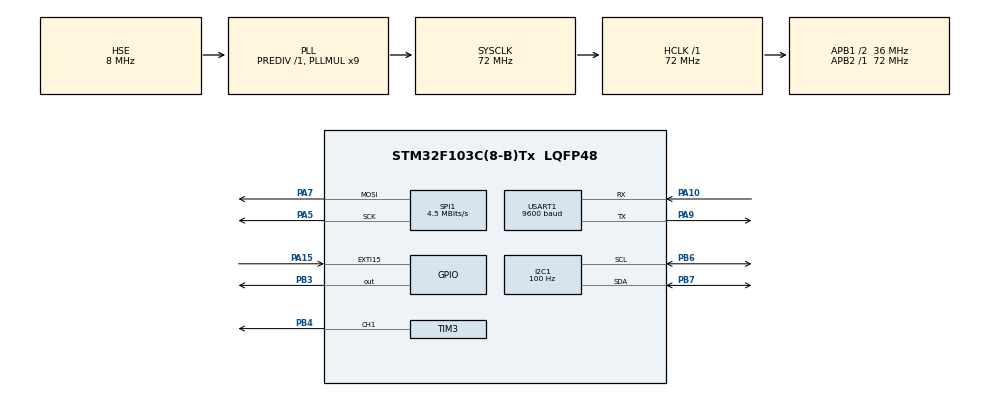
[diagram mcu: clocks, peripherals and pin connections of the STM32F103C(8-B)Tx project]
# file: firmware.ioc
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Mcu.Family=STM32F1
RCC.PLLSourceVirtual=RCC_PLLSOURCE_HSE
TIM3.CounterMode=TIM_COUNTERMODE_DOWN
PA7.Mode=TX_Only_Simplex_Unidirect_Master
PD1-OSC_OUT.Mode=HSE-External-Oscillator
PA10.Mode=Asynchronous
SPI1.VirtualType=VM_MASTER
USART1.BaudRate=9600
USART1.WordLength=WORDLENGTH_8B
NVIC.TIM1_UP_IRQn=true\:0\:0\:false\:false\:true\:true\:true
SPI1.CLKPhase=SPI_PHASE_2EDGE
PD0-OSC_IN.Signal=RCC_OSC_IN
RCC.APB1CLKDivider=RCC_HCLK_DIV2
RCC.SYSCLKSource=RCC_SYSCLKSOURCE_PLLCLK
ProjectManager.StackSize=0x400
PD1-OSC_OUT.Signal=RCC_OSC_OUT
PA13.Signal=SYS_JTMS-SWDIO
PA9.Mode=Asynchronous
TIM1.Prescaler=7200 - 1
I2C1.ClockSpeed=100
ProjectManager.TargetToolchain=EWARM V8.32
PB3.PinState=GPIO_PIN_SET
PA15.GPIO_ModeDefaultEXTI=GPIO_MODE_IT_FALLING
SPI1.Direction=SPI_DIRECTION_2LINES
RCC.HCLKFreq_Value=72000000
RCC.APB2TimFreq_Value=72000000
TIM3.Period=0
PA9.Signal=USART1_TX
PB6.Signal=I2C1_SCL
PB6.Mode=I2C
SPI1.CalculateBaudRate=4.5 MBits/s
RCC.USBFreq_Value=72000000
TIM4.Prescaler=7200 - 1
RCC.AHBFreq_Value=72000000
TIM3.Channel-PWM\ Generation1\ CH1=TIM_CHANNEL_1
PD0-OSC_IN.Mode=HSE-External-Oscillator
NVIC.EXTI15_10_IRQn=true\:3\:0\:true\:false\:true\:true\:true
PA5.Signal=SPI1_SCK
board=custom
RCC.PLLMUL=RCC_PLL_MUL9
RCC.APB2Freq_Value=72000000
PB3.GPIO_PuPd=GPIO_PULLUP
VP_TIM2_VS_ClockSourceINT.Mode=Internal
SPI1.Mode=SPI_MODE_MASTER
PA14.Mode=Serial_Wire
TIM3.Prescaler=7200 - 1
NVIC.TIM2_IRQn=true\:1\:0\:true\:false\:true\:true\:true
PB7.Signal=I2C1_SDA
SH.S_TIM3_CH1.0=TIM3_CH1,PWM Generation1 CH1
TIM2.Period=60000 - 1
TIM4.Period=1000 - 1
PA13.Mode=Serial_Wire
Mcu.Name=STM32F103C(8-B)Tx
VP_TIM1_VS_ClockSourceINT.Mode=Internal
PB3.Signal=GPIO_Output
RCC.SYSCLKFreq_VALUE=72000000
Mcu.Package=LQFP48
TIM2.Prescaler=7200 - 1
USART1.VirtualMode=VM_ASYNC
PB7.Mode=I2C
PA10.Signal=USART1_RX
PA14.Signal=SYS_JTCK-SWCLK
PA15.Signal=GPXTI15
ProjectManager.HeapSize=0x200
VP_TIM4_VS_ClockSourceINT.Mode=Internal
NVIC.PriorityGroup=NVIC_PRIORITYGROUP_2
PA15.GPIO_PuPd=GPIO_PULLUP
RCC.APB1TimFreq_Value=72000000
TIM1.Period=50 - 1
NVIC.USART1_IRQn=true\:0\:0\:false\:false\:true\:true\:true
NVIC.TIM4_IRQn=true\:0\:0\:false\:false\:true\:true\:true
RCC.APB1Freq_Value=36000000
SPI1.BaudRatePrescaler=SPI_BAUDRATEPRESCALER_16
VP_TIM3_VS_ClockSourceINT.Mode=Internal
PB4.Signal=S_TIM3_CH1
PB3.GPIO_ModeDefaultOutputPP=GPIO_MODE_OUTPUT_OD
PA5.Mode=TX_Only_Simplex_Unidirect_Master
PA7.Signal=SPI1_MOSI

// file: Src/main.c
/* USER CODE BEGIN Header */
/**
  ******************************************************************************
  * @file           : main.c
  * @brief          : Main program body
  ******************************************************************************
  * @attention
  *
  * <h2><center>&copy; Copyright (c) 2021 STMicroelectronics.
  * All rights reserved.</center></h2>
  *
  * This software component is licensed by ST under BSD 3-Clause license,
  * the "License"; You may not use this file except in compliance with the
  * License. You may obtain a copy of the License at:
  *                        opensource.org/licenses/BSD-3-Clause
  *
  ******************************************************************************
  */
/* USER CODE END Header */

#include "main.h"

/* USER CODE BEGIN Includes */
#include <stdio.h>
#include "wifi.h"
/* USER CODE END Includes */

/* USER CODE BEGIN PD */
#define LED_0 0xC0
#define LED_1 0xFC

#define	SHT30_ADDR_WRITE	0x44<<1         //10001000
#define	SHT30_ADDR_READ	    (0x44<<1)+1	    //10001011

#define temp_sampling_flash     0x08007000
#define humidity_sampling_flash 0x08007004
#define light_switch_flash      0x08007008
#define system_switch_flash     0x0800700C
#define maxtemp_set_flash       0x08007010
#define minitemp_set_flash      0x08007014
#define maxhum_set_flash        0x08007018
#define minihum_set_flash       0x0800702C
#define bright_value_flash      0x08007030
/* USER CODE END PD */

I2C_HandleTypeDef hi2c1;

SPI_HandleTypeDef hspi1;

TIM_HandleTypeDef htim1;
TIM_HandleTypeDef htim2;
TIM_HandleTypeDef htim3;
TIM_HandleTypeDef htim4;

UART_HandleTypeDef huart1;

/* USER CODE BEGIN PV */
uint8_t light_switch, system_switch, temp_alarm, hum_alarm, bright_value, reset_flag, sht30_ready;

uint16_t humidity_value, temp_sampling, humidity_sampling, maxhum_set, minihum_set;

int16_t temp_current, maxtemp_set, minitemp_set;

uint8_t u1RX, sampling_flag, random_flag;

uint16_t sampling_cnt;
/* USER CODE END PV */

void SystemClock_Config(void);
static void MX_GPIO_Init(void);
static void MX_SPI1_Init(void);
static void MX_USART1_UART_Init(void);
static void MX_I2C1_Init(void);
static void MX_TIM2_Init(void);
static void MX_TIM3_Init(void);
static void MX_TIM4_Init(void);
static void MX_TIM1_Init(void);

/* USER CODE BEGIN 0 */
//设置采样指示灯闪烁频率
void sampling_led_set() {
  uint16_t reload = (temp_sampling + humidity_sampling) * 500 - 1;
  __HAL_TIM_SET_AUTORELOAD(&htim3, reload);
  __HAL_TIM_SET_COMPARE(&htim3, TIM_CHANNEL_1, reload / 2);
}

//开关机
void system_check(uint8_t system) {
      if (system != system_switch) {
        if (system)
          HAL_TIM_PWM_Start(&htim3, TIM_CHANNEL_1);
        else
          HAL_TIM_PWM_Stop(&htim3, TIM_CHANNEL_1);
      }

    system_switch = system;
    sampling_led_set();
    while (system && light_switch > 9)
        light_switch -= 20;

    while (!system && light_switch <= 9)
        light_switch += 20;

    light_set(light_switch);
}

/* SHT30采样 begin ----------------------------------------------------------*/
static uint8_t SHT30_Send_Cmd(uint16_t cmd) {
    uint8_t cmd_buffer[2];
    cmd_buffer[0] = cmd >> 8;
    cmd_buffer[1] = cmd;
    return HAL_I2C_Master_Transmit(&hi2c1, SHT30_ADDR_WRITE, cmd_buffer, 2, 0xFF);
}

void SHT30_Reset(void) {
    SHT30_Send_Cmd(0x30A2);
    HAL_Delay(20);
}

uint8_t SHT30_Read_Dat(uint8_t* dat) {
	SHT30_Send_Cmd(0xE000);
	return HAL_I2C_Master_Receive(&hi2c1, SHT30_ADDR_READ, dat, 6, 0xFFF);
}

void SHT30_Dat_To_Float(float* temperature, float* humidity) {
    uint8_t dat[6] = {0};
	uint16_t recv_temperature = 0;
	uint16_t recv_humidity = 0;

    SHT30_Read_Dat(dat);

	/* 转换温度数据 */
	recv_temperature = ((uint16_t)dat[0]<<8)|dat[1];
	*temperature = -45 + 175*((float)recv_temperature/65535);

	/* 转换湿度数据 */
	recv_humidity = ((uint16_t)dat[3]<<8)|dat[4];
	*humidity = 100 * ((float)recv_humidity / 65535);
}

uint8_t SHT30_Init(void) {
    return SHT30_Send_Cmd(0x2220);
}
/* SHT30采样 end ------------------------------------------------------------*/

//WS2812 数据
void LED_Transmit(uint8_t *color, uint8_t size) {
    uint8_t pos = 0, R, G, B, color_pos;
    uint8_t data[24 * 8];

    for (; pos < size; pos++) {
        R = color[3 * pos];
        G = color[3 * pos + 1];
        B = color[3 * pos + 2];

        for (color_pos = 0; color_pos < 8; color_pos++) {
          data[24 * pos + color_pos] = ((G & (1 << 7)) ? (LED_1) : (LED_0));
          G = G << 1;
        }

        for (color_pos = 0; color_pos < 8; color_pos++) {
          data[24 * pos + 8 + color_pos] = ((R & (1 << 7)) ? (LED_1) : (LED_0));
          R = R << 1;
        }

        for (color_pos = 0; color_pos < 8; color_pos++) {
          data[24 * pos + 16 + color_pos] = ((B & (1 << 7)) ? (LED_1) : (LED_0));
          B = B << 1;
        }
    }

    HAL_SPI_Transmit(&hspi1, data, 24 * size, 1000);
    HAL_Delay(1);
}

void color_set(uint8_t R, uint8_t G, uint8_t B) {
  uint8_t color[24], tmp;
    for (tmp = 1; tmp <= 8; tmp++) {
        color[(tmp - 1) * 3] = R;
        color[(tmp - 1) * 3 + 1] = G;
        color[(tmp - 1) * 3 + 2] = B;
    }

    LED_Transmit(color, 8);

}

// 设置光强
void light_set(uint8_t light) {
  light_switch = light;

  uint8_t R = 0, G = 0, B = 0;

  switch(light) {
        case 0:
        break;

        case 1:
          R = G = B = bright_value;
        break;

        case 2:
          R = bright_value;
        break;

        case 3:
          G = bright_value;
        break;

        case 4:
          B = bright_value;
        break;

        case 5:
          G = B = bright_value;
        break;

        case 6:
          R = B = bright_value;
        break;

        case 7:
          R = G = bright_value;
        break;

        case 8:
          B = bright_value;
          R = bright_value * humidity_value / 100;
          G = bright_value - R;
        break;

        case 9:
          return;
        break;
    }

    color_set(R, G, B);
}

//WS2812  数据处理
void bright_set(uint8_t bright) {
  bright_value = bright;
  light_set(light_switch);
}

//检查是否触发警报
void alerm_checker() {
  if (temp_current < minitemp_set)
    temp_alarm = 0;
  else if (temp_current > maxtemp_set)
    temp_alarm = 1;
  else
    temp_alarm = 2;

  if (humidity_value < minihum_set)
    hum_alarm = 0;
  else if (humidity_value > maxhum_set)
    hum_alarm = 1;
  else
    hum_alarm = 2;

  mcu_dp_enum_update(DPID_TEMP_ALARM,temp_alarm); //枚举型数据上报;
  mcu_dp_enum_update(DPID_HUM_ALARM,hum_alarm); //枚举型数据上报;
}

//设置并上传温度值
void temp_set(int16_t temp) {
  temp_current = temp;

  mcu_dp_value_update(DPID_TEMP_CURRENT,temp_current); //VALUE型数据上报;

  alerm_checker();
}

//设置并上传湿度值
void hum_set(uint16_t hum) {
  light_set(light_switch);

  humidity_value = hum;

  mcu_dp_value_update(DPID_HUMIDITY_VALUE,humidity_value); //VALUE型数据上报;

  alerm_checker();
}

// 上电初始化数据
void Data_Init() {
  temp_alarm = hum_alarm = 2;
  light_switch = (uint8_t)readFlash(light_switch_flash);
  system_switch = (uint8_t)readFlash(system_switch_flash);
  temp_sampling = (uint16_t)readFlash(temp_sampling_flash);
  humidity_sampling = (uint16_t)readFlash(humidity_sampling_flash);
  maxtemp_set = (int16_t)readFlash(maxtemp_set_flash);
  minitemp_set = (int16_t)readFlash(minitemp_set_flash);
  maxhum_set = (uint16_t)readFlash(maxhum_set_flash);
  minihum_set = (uint16_t)readFlash(minihum_set_flash);
  bright_value = (uint8_t)readFlash(bright_value_flash);
  sampling_led_set();

  bright_set(bright_value);//第一次发送信号不稳
  bright_set(bright_value);

  system_check(system_switch);
}

//读取Flash
uint32_t readFlash(uint32_t addr){
  return *(__IO uint32_t*)(addr);
}

//写Flash
void updateFlash(){
  //Unlock
  HAL_FLASH_Unlock();

  //Erase
  FLASH_EraseInitTypeDef f;
  f.TypeErase = FLASH_TYPEERASE_PAGES;
  f.PageAddress = 0x08007000;
  f.NbPages = 1;
  uint32_t PageError = 0;
  HAL_FLASHEx_Erase(&f, &PageError);

  //Write
  HAL_FLASH_Program(TYPEPROGRAM_WORD, temp_sampling_flash, temp_sampling);
  HAL_FLASH_Program(TYPEPROGRAM_WORD, humidity_sampling_flash, humidity_sampling);
  HAL_FLASH_Program(TYPEPROGRAM_WORD, light_switch_flash, light_switch);
  HAL_FLASH_Program(TYPEPROGRAM_WORD, system_switch_flash, system_switch);
  HAL_FLASH_Program(TYPEPROGRAM_WORD, maxtemp_set_flash, maxtemp_set);
  HAL_FLASH_Program(TYPEPROGRAM_WORD, minitemp_set_flash, minitemp_set);
  HAL_FLASH_Program(TYPEPROGRAM_WORD, maxhum_set_flash, maxhum_set);
  HAL_FLASH_Program(TYPEPROGRAM_WORD, minihum_set_flash, minihum_set);
  HAL_FLASH_Program(TYPEPROGRAM_WORD, bright_value_flash, bright_value);

  //Lock
  HAL_FLASH_Lock();
}

void HAL_TIM_PeriodElapsedCallback(TIM_HandleTypeDef *htim) {
    if (htim == &htim2) {
      //非实时数据上传
        all_data_update();
    } else if (htim == &htim4 && sht30_ready) {
      //温湿度定时
      if (sampling_cnt-- == 0) {
        sampling_cnt = (temp_sampling / 2 + humidity_sampling / 2);
        sampling_flag = 1;
      }
    } else if (htim == &htim1) {
      random_flag++;
    }
}

//串口发送
void UART1_Transmit(unsigned char value) {
  HAL_UART_Transmit(&huart1, &value, 1, 0xffff);
}

//中断方式接收1字节数据
void HAL_UART_RxCpltCallback(UART_HandleTypeDef *huart) {
  uart_receive_input(u1RX);
  while(HAL_UART_Receive_IT(&huart1, &u1RX,1) != HAL_OK);
}

//重置wifi按钮
void HAL_GPIO_EXTI_Callback(uint16_t GPIO_Pin) {
  if (reset_flag)
    return;

  mcu_reset_wifi();
  mcu_set_wifi_mode(SMART_CONFIG);

  reset_flag = 1;
}
/* USER CODE END 0 */

int main(void)
{

  /* MCU Configuration--------------------------------------------------------*/

  /* Reset of all peripherals, Initializes the Flash interface and the Systick. */
  HAL_Init();

  /* Configure the system clock */
  SystemClock_Config();

  /* Initialize all configured peripherals */
  MX_GPIO_Init();
  MX_SPI1_Init();
  MX_USART1_UART_Init();
  MX_I2C1_Init();
  MX_TIM2_Init();
  MX_TIM3_Init();
  MX_TIM4_Init();
  MX_TIM1_Init();
  /* USER CODE BEGIN 2 */
  Data_Init();

  HAL_TIM_Base_Start_IT(&htim2);
  HAL_TIM_Base_Start_IT(&htim4);
  HAL_TIM_Base_Start_IT(&htim1);
  if (system_switch) HAL_TIM_PWM_Start(&htim3, TIM_CHANNEL_1);

  while(HAL_UART_Receive_IT(&huart1, &u1RX,1) != HAL_OK);
  wifi_protocol_init();

    SHT30_Reset();
    if(SHT30_Init() == HAL_OK) sht30_ready = 1;
  /* USER CODE END 2 */

  /* Infinite loop */
  /* USER CODE BEGIN WHILE */
    uint8_t R = 255, G = 0, B = 0, pos = 1;
    int8_t color_flag = 1;
  while (1) {
    wifi_uart_service();

    if (sampling_flag && system_switch) {
        float temperature, humidity;
        SHT30_Dat_To_Float(&temperature, &humidity);

        hum_set((int16_t)humidity);
        temp_set((int16_t)(temperature * 10));

        sampling_flag = 0;
    }

    if (random_flag >= 1 && light_switch == 9) {
      random_flag = 0;
      uint8_t over = 0;

      if (pos == 0) {
        R += color_flag;
        if ((color_flag == 1 && R == 255) || (color_flag == -1 && R == 0))
          over = 1;
      } else if (pos == 1) {
        G += color_flag;
          if ((color_flag == 1 && G == 255) || (color_flag == -1 && G == 0))
              over = 1;
      } else {
        B += color_flag;
        if ((color_flag == 1 && B == 255) || (color_flag == -1 && B == 0))
          over = 1;
      }

      if (over) {
        pos += 2;
        pos %= 3;
        color_flag *= -1;
      }

      color_set(R, G, B);
    }
    /* USER CODE END WHILE */

  }
}

void SystemClock_Config(void)
{
  RCC_OscInitTypeDef RCC_OscInitStruct = {0};
  RCC_ClkInitTypeDef RCC_ClkInitStruct = {0};

  /** Initializes the CPU, AHB and APB busses clocks
  */
  RCC_OscInitStruct.OscillatorType = RCC_OSCILLATORTYPE_HSE;
  RCC_OscInitStruct.HSEState = RCC_HSE_ON;
  RCC_OscInitStruct.HSEPredivValue = RCC_HSE_PREDIV_DIV1;
  RCC_OscInitStruct.HSIState = RCC_HSI_ON;
  RCC_OscInitStruct.PLL.PLLState = RCC_PLL_ON;
  RCC_OscInitStruct.PLL.PLLSource = RCC_PLLSOURCE_HSE;
  RCC_OscInitStruct.PLL.PLLMUL = RCC_PLL_MUL9;
  if (HAL_RCC_OscConfig(&RCC_OscInitStruct) != HAL_OK)
  {
    Error_Handler();
  }
  /** Initializes the CPU, AHB and APB busses clocks
  */
  RCC_ClkInitStruct.ClockType = RCC_CLOCKTYPE_HCLK|RCC_CLOCKTYPE_SYSCLK
                              |RCC_CLOCKTYPE_PCLK1|RCC_CLOCKTYPE_PCLK2;
  RCC_ClkInitStruct.SYSCLKSource = RCC_SYSCLKSOURCE_PLLCLK;
  RCC_ClkInitStruct.AHBCLKDivider = RCC_SYSCLK_DIV1;
  RCC_ClkInitStruct.APB1CLKDivider = RCC_HCLK_DIV2;
  RCC_ClkInitStruct.APB2CLKDivider = RCC_HCLK_DIV1;

  if (HAL_RCC_ClockConfig(&RCC_ClkInitStruct, FLASH_LATENCY_2) != HAL_OK)
  {
    Error_Handler();
  }
}

static void MX_I2C1_Init(void)
{

  hi2c1.Instance = I2C1;
  hi2c1.Init.ClockSpeed = 100;
  hi2c1.Init.DutyCycle = I2C_DUTYCYCLE_2;
  hi2c1.Init.OwnAddress1 = 0;
  hi2c1.Init.AddressingMode = I2C_ADDRESSINGMODE_7BIT;
  hi2c1.Init.DualAddressMode = I2C_DUALADDRESS_DISABLE;
  hi2c1.Init.OwnAddress2 = 0;
  hi2c1.Init.GeneralCallMode = I2C_GENERALCALL_DISABLE;
  hi2c1.Init.NoStretchMode = I2C_NOSTRETCH_DISABLE;
  if (HAL_I2C_Init(&hi2c1) != HAL_OK)
  {
    Error_Handler();
  }

}

static void MX_SPI1_Init(void)
{

  /* SPI1 parameter configuration*/
  hspi1.Instance = SPI1;
  hspi1.Init.Mode = SPI_MODE_MASTER;
  hspi1.Init.Direction = SPI_DIRECTION_2LINES;
  hspi1.Init.DataSize = SPI_DATASIZE_8BIT;
  hspi1.Init.CLKPolarity = SPI_POLARITY_LOW;
  hspi1.Init.CLKPhase = SPI_PHASE_2EDGE;
  hspi1.Init.NSS = SPI_NSS_SOFT;
  hspi1.Init.BaudRatePrescaler = SPI_BAUDRATEPRESCALER_16;
  hspi1.Init.FirstBit = SPI_FIRSTBIT_MSB;
  hspi1.Init.TIMode = SPI_TIMODE_DISABLE;
  hspi1.Init.CRCCalculation = SPI_CRCCALCULATION_DISABLE;
  hspi1.Init.CRCPolynomial = 10;
  if (HAL_SPI_Init(&hspi1) != HAL_OK)
  {
    Error_Handler();
  }

}

static void MX_TIM1_Init(void)
{

  TIM_ClockConfigTypeDef sClockSourceConfig = {0};
  TIM_MasterConfigTypeDef sMasterConfig = {0};

  htim1.Instance = TIM1;
  htim1.Init.Prescaler = 7200 - 1;
  htim1.Init.CounterMode = TIM_COUNTERMODE_UP;
  htim1.Init.Period = 50 - 1;
  htim1.Init.ClockDivision = TIM_CLOCKDIVISION_DIV1;
  htim1.Init.RepetitionCounter = 0;
  htim1.Init.AutoReloadPreload = TIM_AUTORELOAD_PRELOAD_DISABLE;
  if (HAL_TIM_Base_Init(&htim1) != HAL_OK)
  {
    Error_Handler();
  }
  sClockSourceConfig.ClockSource = TIM_CLOCKSOURCE_INTERNAL;
  if (HAL_TIM_ConfigClockSource(&htim1, &sClockSourceConfig) != HAL_OK)
  {
    Error_Handler();
  }
  sMasterConfig.MasterOutputTrigger = TIM_TRGO_RESET;
  sMasterConfig.MasterSlaveMode = TIM_MASTERSLAVEMODE_DISABLE;
  if (HAL_TIMEx_MasterConfigSynchronization(&htim1, &sMasterConfig) != HAL_OK)
  {
    Error_Handler();
  }

}

static void MX_TIM2_Init(void)
{

  TIM_ClockConfigTypeDef sClockSourceConfig = {0};
  TIM_MasterConfigTypeDef sMasterConfig = {0};

  htim2.Instance = TIM2;
  htim2.Init.Prescaler = 7200 - 1;
  htim2.Init.CounterMode = TIM_COUNTERMODE_UP;
  htim2.Init.Period = 60000 - 1;
  htim2.Init.ClockDivision = TIM_CLOCKDIVISION_DIV1;
  htim2.Init.AutoReloadPreload = TIM_AUTORELOAD_PRELOAD_DISABLE;
  if (HAL_TIM_Base_Init(&htim2) != HAL_OK)
  {
    Error_Handler();
  }
  sClockSourceConfig.ClockSource = TIM_CLOCKSOURCE_INTERNAL;
  if (HAL_TIM_ConfigClockSource(&htim2, &sClockSourceConfig) != HAL_OK)
  {
    Error_Handler();
  }
  sMasterConfig.MasterOutputTrigger = TIM_TRGO_RESET;
  sMasterConfig.MasterSlaveMode = TIM_MASTERSLAVEMODE_DISABLE;
  if (HAL_TIMEx_MasterConfigSynchronization(&htim2, &sMasterConfig) != HAL_OK)
  {
    Error_Handler();
  }

}

static void MX_TIM3_Init(void)
{

  TIM_ClockConfigTypeDef sClockSourceConfig = {0};
  TIM_MasterConfigTypeDef sMasterConfig = {0};
  TIM_OC_InitTypeDef sConfigOC = {0};

  htim3.Instance = TIM3;
  htim3.Init.Prescaler = 7200 - 1;
  htim3.Init.CounterMode = TIM_COUNTERMODE_DOWN;
  htim3.Init.Period = 0;
  htim3.Init.ClockDivision = TIM_CLOCKDIVISION_DIV1;
  htim3.Init.AutoReloadPreload = TIM_AUTORELOAD_PRELOAD_DISABLE;
  if (HAL_TIM_Base_Init(&htim3) != HAL_OK)
  {
    Error_Handler();
  }
  sClockSourceConfig.ClockSource = TIM_CLOCKSOURCE_INTERNAL;
  if (HAL_TIM_ConfigClockSource(&htim3, &sClockSourceConfig) != HAL_OK)
  {
    Error_Handler();
  }
  if (HAL_TIM_PWM_Init(&htim3) != HAL_OK)
  {
    Error_Handler();
  }
  sMasterConfig.MasterOutputTrigger = TIM_TRGO_RESET;
  sMasterConfig.MasterSlaveMode = TIM_MASTERSLAVEMODE_DISABLE;
  if (HAL_TIMEx_MasterConfigSynchronization(&htim3, &sMasterConfig) != HAL_OK)
  {
    Error_Handler();
  }
  sConfigOC.OCMode = TIM_OCMODE_PWM1;
  sConfigOC.Pulse = 0;
  sConfigOC.OCPolarity = TIM_OCPOLARITY_HIGH;
  sConfigOC.OCFastMode = TIM_OCFAST_DISABLE;
  if (HAL_TIM_PWM_ConfigChannel(&htim3, &sConfigOC, TIM_CHANNEL_1) != HAL_OK)
  {
    Error_Handler();
  }
  HAL_TIM_MspPostInit(&htim3);

}

static void MX_TIM4_Init(void)
{

  TIM_ClockConfigTypeDef sClockSourceConfig = {0};
  TIM_MasterConfigTypeDef sMasterConfig = {0};

  htim4.Instance = TIM4;
  htim4.Init.Prescaler = 7200 - 1;
  htim4.Init.CounterMode = TIM_COUNTERMODE_UP;
  htim4.Init.Period = 1000 - 1;
  htim4.Init.ClockDivision = TIM_CLOCKDIVISION_DIV1;
  htim4.Init.AutoReloadPreload = TIM_AUTORELOAD_PRELOAD_DISABLE;
  if (HAL_TIM_Base_Init(&htim4) != HAL_OK)
  {
    Error_Handler();
  }
  sClockSourceConfig.ClockSource = TIM_CLOCKSOURCE_INTERNAL;
  if (HAL_TIM_ConfigClockSource(&htim4, &sClockSourceConfig) != HAL_OK)
  {
    Error_Handler();
  }
  sMasterConfig.MasterOutputTrigger = TIM_TRGO_RESET;
  sMasterConfig.MasterSlaveMode = TIM_MASTERSLAVEMODE_DISABLE;
  if (HAL_TIMEx_MasterConfigSynchronization(&htim4, &sMasterConfig) != HAL_OK)
  {
    Error_Handler();
  }

}

static void MX_USART1_UART_Init(void)
{

  huart1.Instance = USART1;
  huart1.Init.BaudRate = 9600;
  huart1.Init.WordLength = UART_WORDLENGTH_8B;
  huart1.Init.StopBits = UART_STOPBITS_1;
  huart1.Init.Parity = UART_PARITY_NONE;
  huart1.Init.Mode = UART_MODE_TX_RX;
  huart1.Init.HwFlowCtl = UART_HWCONTROL_NONE;
  huart1.Init.OverSampling = UART_OVERSAMPLING_16;
  if (HAL_UART_Init(&huart1) != HAL_OK)
  {
    Error_Handler();
  }

}

static void MX_GPIO_Init(void)
{
  GPIO_InitTypeDef GPIO_InitStruct = {0};

  /* GPIO Ports Clock Enable */
  __HAL_RCC_GPIOD_CLK_ENABLE();
  __HAL_RCC_GPIOA_CLK_ENABLE();
  __HAL_RCC_GPIOB_CLK_ENABLE();

  /*Configure GPIO pin Output Level */
  HAL_GPIO_WritePin(GPIOB, GPIO_PIN_3, GPIO_PIN_SET);

  /*Configure GPIO pin : PA15 */
  GPIO_InitStruct.Pin = GPIO_PIN_15;
  GPIO_InitStruct.Mode = GPIO_MODE_IT_FALLING;
  GPIO_InitStruct.Pull = GPIO_PULLUP;
  HAL_GPIO_Init(GPIOA, &GPIO_InitStruct);

  /*Configure GPIO pin : PB3 */
  GPIO_InitStruct.Pin = GPIO_PIN_3;
  GPIO_InitStruct.Mode = GPIO_MODE_OUTPUT_OD;
  GPIO_InitStruct.Pull = GPIO_PULLUP;
  GPIO_InitStruct.Speed = GPIO_SPEED_FREQ_LOW;
  HAL_GPIO_Init(GPIOB, &GPIO_InitStruct);

  /* EXTI interrupt init*/
  HAL_NVIC_SetPriority(EXTI15_10_IRQn, 3, 0);
  HAL_NVIC_EnableIRQ(EXTI15_10_IRQn);

}

void Error_Handler(void)
{
  /* USER CODE BEGIN Error_Handler_Debug */
  /* User can add his own implementation to report the HAL error return state */
    printf("error");
  /* USER CODE END Error_Handler_Debug */
}

/************************ (C) COPYRIGHT STMicroelectronics *****END OF FILE****/
